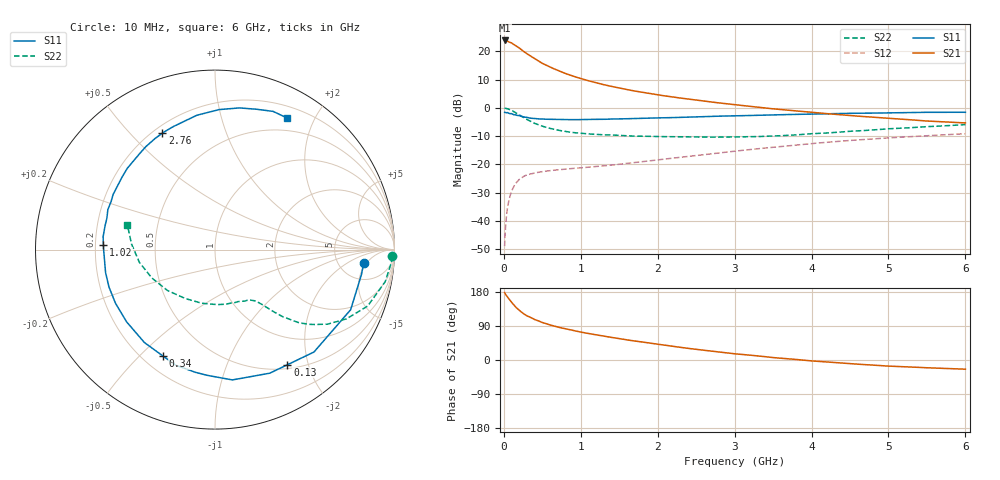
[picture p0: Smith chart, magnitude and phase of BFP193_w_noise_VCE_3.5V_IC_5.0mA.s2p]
! Infineon Technologies  Discrete & RF Semiconductors
! BFP193
! VCE = 3.5 V,  IC =  5.0 mA
! Common Emitter S-Parameters:  Jan 2016
# GHz  S  MA  R  50
!  f  S11  S21  S12  S22
! GHz  MAG  ANG  MAG  ANG  MAG  ANG  MAG  ANG
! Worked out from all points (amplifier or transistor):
!   210 points, 10 MHz to 6 GHz, reference 50 ohm
!   highest |S21| = 23.8 dB at 10 MHz (marker M1)
!   |S21| within 3 dB of that: start of sweep to 215.8 MHz
!   unconditionally stable (mu >= 1): 1.259 GHz to 3.558 GHz
!   at 185 MHz: K = 0.21, MSG = 23.6 dB, |S12| = -25.7 dB
!   at 1.52 GHz: K = 1.07, MAG = 11.7 dB, |S12| = -19.9 dB
!   at 6 GHz: K = 0.91, MSG = 1.9 dB, |S12| = -9.1 dB
!   lowest NFmin = 1.20 dB at 450 MHz
!   S11 on the Smith chart (normalised r, x): 10 MHz: 8.92, -4.21; 130 MHz: 0.56, -1.67; 340 MHz: 0.28, -0.59; 1.02 GHz: 0.23, +0.02; 2.76 GHz: 0.24, +0.62; 6 GHz: 0.33, +1.63
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0.01  0.8323 -5.0  15.54 178.0  0.0036 89.9  0.9878 -2.2
0.02  0.8277 -9.7  15.23 173.8  0.0072 81.3  0.9849 -4.3
0.05  0.8267 -23.9  15.03 165.4  0.0181 78.1  0.9649 -10.7
0.1  0.7935 -46.0  14.06 152.4  0.0339 67.1  0.9068 -20.3
0.13  0.7578 -57.8  13.17 145.3  0.0408 61.0  0.8575 -24.6
0.15  0.7531 -66.1  12.71 140.1  0.0456 58.0  0.8277 -27.8
0.2  0.7325 -82.4  11.45 130.9  0.0544 51.8  0.7513 -33.6
0.26  0.6922 -99.1  9.886 121.7  0.0617 45.1  0.6684 -38.5
0.3  0.6802 -108.8  9.051 116.5  0.0656 42.7  0.6248 -40.9
0.34  0.6601 -115.9  8.363 113.1  0.0676 40.4  0.5876 -42.3
0.4  0.6503 -127.2  7.4 106.8  0.0708 37.1  0.5325 -44.7
0.5  0.636 -140.8  6.127 98.9  0.0748 34.3  0.4739 -46.7
0.6  0.6298 -151.7  5.249 92.5  0.0778 32.9  0.4336 -48.1
0.8  0.6229 -168.2  4.054 82.1  0.083 32.2  0.383 -50.5
1.02  0.6225 177.6  3.241 73.0  0.0875 33.4  0.3542 -53.1
1.4  0.6372 159.5  2.389 59.6  0.0972 36.1  0.3322 -59.6
2.02  0.6667 136.6  1.685 41.1  0.1213 40.7  0.3109 -73.7
2.76  0.7115 114.4  1.241 22.0  0.1581 41.4  0.3042 -95.7
3.1  0.7282 106.3  1.102 14.7  0.1776 40.2  0.3077 -107.4
4.1  0.7833 86.6  0.812 -3.7  0.2404 33.1  0.3543 -142.9
5.1  0.8189 72.1  0.642 -16.9  0.3003 22.4  0.433 -173.3
6  0.8361 61.5  0.542 -24.3  0.3495 11.8  0.5058 164.6
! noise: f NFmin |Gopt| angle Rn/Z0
0.45  1.2  0.26  102  0.14
0.9  1.25  0.38  145  0.12
1.8  2.05  0.56  -161  0.12
